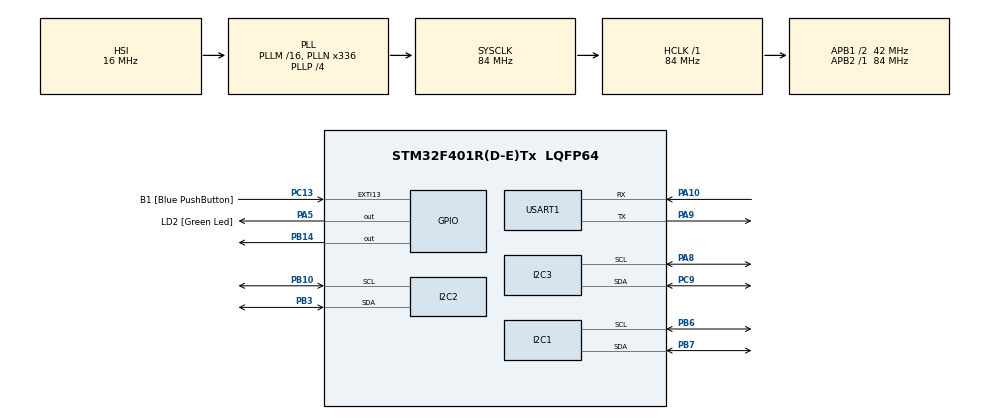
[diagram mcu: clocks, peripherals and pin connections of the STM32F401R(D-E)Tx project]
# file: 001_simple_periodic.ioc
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Mcu.Family=STM32F4
Mcu.Name=STM32F401R(D-E)Tx
Mcu.Package=LQFP64
NVIC.PriorityGroup=NVIC_PRIORITYGROUP_4
NVIC.TIM3_IRQn=true\:1\:0\:true\:false\:true\:true\:true\:true
PA10.Mode=Asynchronous
PA10.Signal=USART1_RX
PA13.GPIO_Label=TMS
PA13.Mode=Serial_Wire
PA13.Signal=SYS_JTMS-SWDIO
PA14.GPIO_Label=TCK
PA14.Mode=Serial_Wire
PA14.Signal=SYS_JTCK-SWCLK
PA2.GPIO_Label=USART_TX
PA2.GPIO_Mode=GPIO_MODE_AF_PP
PA2.GPIO_PuPd=GPIO_NOPULL
PA2.GPIO_Speed=GPIO_SPEED_FREQ_LOW
PA2.Signal=USART2_TX
PA3.GPIO_Label=USART_RX
PA3.GPIO_Mode=GPIO_MODE_AF_PP
PA3.GPIO_PuPd=GPIO_NOPULL
PA3.GPIO_Speed=GPIO_SPEED_FREQ_LOW
PA3.Signal=USART2_RX
PA5.GPIO_Label=LD2 [Green Led]
PA5.GPIO_Mode=GPIO_MODE_OUTPUT_PP
PA5.GPIO_PuPd=GPIO_NOPULL
PA5.GPIO_Speed=GPIO_SPEED_FREQ_LOW
PA5.Signal=GPIO_Output
PA8.Mode=I2C
PA8.Signal=I2C3_SCL
PA9.Mode=Asynchronous
PA9.Signal=USART1_TX
PB10.Mode=I2C
PB10.Signal=I2C2_SCL
PB14.Signal=GPIO_Output
PB3.Mode=I2C
PB3.Signal=I2C2_SDA
PB6.Mode=I2C
PB6.Signal=I2C1_SCL
PB7.Mode=I2C
PB7.Signal=I2C1_SDA
PC13-ANTI_TAMP.GPIO_Label=B1 [Blue PushButton]
PC13-ANTI_TAMP.GPIO_ModeDefaultEXTI=GPIO_MODE_IT_FALLING
PC13-ANTI_TAMP.GPIO_PuPd=GPIO_NOPULL
PC13-ANTI_TAMP.Signal=GPXTI13
PC14-OSC32_IN.Signal=RCC_OSC32_IN
PC15-OSC32_OUT.Signal=RCC_OSC32_OUT
PC9.Mode=I2C
PC9.Signal=I2C3_SDA
PH0\ -\ OSC_IN.Signal=RCC_OSC_IN
PH1\ -\ OSC_OUT.Signal=RCC_OSC_OUT
ProjectManager.HeapSize=0x200
ProjectManager.StackSize=0x400
ProjectManager.TargetToolchain=STM32CubeIDE
RCC.AHBFreq_Value=84000000
RCC.APB1CLKDivider=RCC_HCLK_DIV2
RCC.APB1Freq_Value=42000000
RCC.APB1TimFreq_Value=84000000
RCC.APB2Freq_Value=84000000
RCC.APB2TimFreq_Value=84000000
RCC.CortexFreq_Value=84000000
RCC.HCLKFreq_Value=84000000
RCC.HSE_VALUE=8000000
RCC.HSI_VALUE=16000000
RCC.LSE_VALUE=32768
RCC.PLLN=336
RCC.PLLP=RCC_PLLP_DIV4
RCC.PLLQ=7
RCC.SYSCLKFreq_VALUE=84000000
RCC.SYSCLKSource=RCC_SYSCLKSOURCE_PLLCLK
RCC.VCOOutputFreq_Value=336000000
TIM3.AutoReloadPreload=TIM_AUTORELOAD_PRELOAD_DISABLE
TIM3.Period=1999
TIM3.Prescaler=42000
USART1.VirtualMode=VM_ASYNC
VP_TIM3_VS_ClockSourceINT.Mode=Internal
board=NUCLEO-F401RE

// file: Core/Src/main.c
/* USER CODE BEGIN Header */
/**
  ******************************************************************************
  * @file           : main.c
  * @brief          : Main program body
  ******************************************************************************
  * @attention
  *
  * Copyright (c) 2025 STMicroelectronics.
  * All rights reserved.
  *
  * This software is licensed under terms that can be found in the LICENSE file
  * in the root directory of this software component.
  * If no LICENSE file comes with this software, it is provided AS-IS.
  *
  ******************************************************************************
  */
/* USER CODE END Header */
#include "main.h"

/* USER CODE BEGIN Includes */
#include <stdbool.h>
#include <task_type.h>
#include "stdio.h"
#include "LCD_I2C.h"
#include "I2C_DS3231.h"
#include "sht2x_for_stm32_hal.h"
#include "print_cli.h"
/* USER CODE END Includes */

/* USER CODE BEGIN PM */
#define MAX_TASKS 5
/* USER CODE END PM */

I2C_HandleTypeDef hi2c1;
I2C_HandleTypeDef hi2c2;
I2C_HandleTypeDef hi2c3;

TIM_HandleTypeDef htim3;

UART_HandleTypeDef huart1;

/* USER CODE BEGIN PV */
DateTime date_time;
CLCD_I2C_Name LCD1;
/* USER CODE END PV */

void SystemClock_Config(void);
static void MX_GPIO_Init(void);
static void MX_I2C1_Init(void);
static void MX_USART1_UART_Init(void);
static void MX_I2C2_Init(void);
static void MX_I2C3_Init(void);
static void MX_TIM3_Init(void);
/* USER CODE BEGIN PFP */
void update_parameter_to_display(char *a , float b);
void display_lcd();
void send_uart();
void read_time();
void read_temp_and_hum();
void function_handle();
void update_time();
/* USER CODE END PFP */

/* USER CODE BEGIN 0 */
char Time[9]     = "  :  :  ";
char Calendar[11] = "  /  /20  ";

char c_temperature[5];
float f_temperature = 0;

char c_humidity[5];
float f_humidity = 0;

uint8_t flag = 0;
void HAL_TIM_PeriodElapsedCallback(TIM_HandleTypeDef *htim){
	if(htim == &htim3){
		flag = 1;
	}
}

Task task_list[MAX_TASKS] = {
    {read_temp_and_hum, true},
    {read_time, true},
    {send_uart, true},
    {display_lcd, true},
    {NULL, false}
};

/* USER CODE END 0 */

int main(void)
{

  /* MCU Configuration--------------------------------------------------------*/

  /* Reset of all peripherals, Initializes the Flash interface and the Systick. */
  HAL_Init();

  /* Configure the system clock */
  SystemClock_Config();

  /* Initialize all configured peripherals */
  MX_GPIO_Init();
  MX_I2C1_Init();
  MX_USART1_UART_Init();
  MX_I2C2_Init();
  MX_I2C3_Init();
  MX_TIM3_Init();
  /* USER CODE BEGIN 2 */

  HAL_TIM_Base_Start_IT(&htim3);
  // init LCD use I2C2

  CLCD_I2C_Init(&LCD1,&hi2c2,0x4e,20,4);

  // init SHT21 use I2C1
  SHT2x_Init(&hi2c1);
  SHT2x_SetResolution(RES_14_12);

  //init DS3231 use I2C3
  rtc_init(&hi2c3);

  CLCD_I2C_SetCursor(&LCD1, 10, 0);
  CLCD_I2C_WriteString(&LCD1, "t:");

  CLCD_I2C_SetCursor(&LCD1, 10, 1);
  CLCD_I2C_WriteString(&LCD1, "h:");

  // init time for rtc . It just sould run once time.
	date_time.hour =9;
    date_time.min =54;
	date_time.sec =30;
	date_time.day =19;
	date_time.date =7;
	date_time.mon =1;
	date_time.year =25;

	//rtc_write_time(&date_time);

  /* USER CODE END 2 */

  /* Infinite loop */
  while (1)
  {

    /* USER CODE BEGIN 3 */
//	  if(flag == 1){
//			read_temp_and_hum();
//			read_time();
//			send_uart();
//			display_lcd();
//			flag = 0;
//	  }
	  function_handle();
  }
  /* USER CODE END 3 */
}

void SystemClock_Config(void)
{
  RCC_OscInitTypeDef RCC_OscInitStruct = {0};
  RCC_ClkInitTypeDef RCC_ClkInitStruct = {0};

  /** Configure the main internal regulator output voltage
  */
  __HAL_RCC_PWR_CLK_ENABLE();
  __HAL_PWR_VOLTAGESCALING_CONFIG(PWR_REGULATOR_VOLTAGE_SCALE2);

  /** Initializes the RCC Oscillators according to the specified parameters
  * in the RCC_OscInitTypeDef structure.
  */
  RCC_OscInitStruct.OscillatorType = RCC_OSCILLATORTYPE_HSI;
  RCC_OscInitStruct.HSIState = RCC_HSI_ON;
  RCC_OscInitStruct.HSICalibrationValue = RCC_HSICALIBRATION_DEFAULT;
  RCC_OscInitStruct.PLL.PLLState = RCC_PLL_ON;
  RCC_OscInitStruct.PLL.PLLSource = RCC_PLLSOURCE_HSI;
  RCC_OscInitStruct.PLL.PLLM = 16;
  RCC_OscInitStruct.PLL.PLLN = 336;
  RCC_OscInitStruct.PLL.PLLP = RCC_PLLP_DIV4;
  RCC_OscInitStruct.PLL.PLLQ = 7;
  if (HAL_RCC_OscConfig(&RCC_OscInitStruct) != HAL_OK)
  {
    Error_Handler();
  }

  /** Initializes the CPU, AHB and APB buses clocks
  */
  RCC_ClkInitStruct.ClockType = RCC_CLOCKTYPE_HCLK|RCC_CLOCKTYPE_SYSCLK
                              |RCC_CLOCKTYPE_PCLK1|RCC_CLOCKTYPE_PCLK2;
  RCC_ClkInitStruct.SYSCLKSource = RCC_SYSCLKSOURCE_PLLCLK;
  RCC_ClkInitStruct.AHBCLKDivider = RCC_SYSCLK_DIV1;
  RCC_ClkInitStruct.APB1CLKDivider = RCC_HCLK_DIV2;
  RCC_ClkInitStruct.APB2CLKDivider = RCC_HCLK_DIV1;

  if (HAL_RCC_ClockConfig(&RCC_ClkInitStruct, FLASH_LATENCY_2) != HAL_OK)
  {
    Error_Handler();
  }
}

static void MX_I2C1_Init(void)
{

  hi2c1.Instance = I2C1;
  hi2c1.Init.ClockSpeed = 100000;
  hi2c1.Init.DutyCycle = I2C_DUTYCYCLE_2;
  hi2c1.Init.OwnAddress1 = 0;
  hi2c1.Init.AddressingMode = I2C_ADDRESSINGMODE_7BIT;
  hi2c1.Init.DualAddressMode = I2C_DUALADDRESS_DISABLE;
  hi2c1.Init.OwnAddress2 = 0;
  hi2c1.Init.GeneralCallMode = I2C_GENERALCALL_DISABLE;
  hi2c1.Init.NoStretchMode = I2C_NOSTRETCH_DISABLE;
  if (HAL_I2C_Init(&hi2c1) != HAL_OK)
  {
    Error_Handler();
  }

}

static void MX_I2C2_Init(void)
{

  hi2c2.Instance = I2C2;
  hi2c2.Init.ClockSpeed = 100000;
  hi2c2.Init.DutyCycle = I2C_DUTYCYCLE_2;
  hi2c2.Init.OwnAddress1 = 0;
  hi2c2.Init.AddressingMode = I2C_ADDRESSINGMODE_7BIT;
  hi2c2.Init.DualAddressMode = I2C_DUALADDRESS_DISABLE;
  hi2c2.Init.OwnAddress2 = 0;
  hi2c2.Init.GeneralCallMode = I2C_GENERALCALL_DISABLE;
  hi2c2.Init.NoStretchMode = I2C_NOSTRETCH_DISABLE;
  if (HAL_I2C_Init(&hi2c2) != HAL_OK)
  {
    Error_Handler();
  }

}

static void MX_I2C3_Init(void)
{

  hi2c3.Instance = I2C3;
  hi2c3.Init.ClockSpeed = 100000;
  hi2c3.Init.DutyCycle = I2C_DUTYCYCLE_2;
  hi2c3.Init.OwnAddress1 = 0;
  hi2c3.Init.AddressingMode = I2C_ADDRESSINGMODE_7BIT;
  hi2c3.Init.DualAddressMode = I2C_DUALADDRESS_DISABLE;
  hi2c3.Init.OwnAddress2 = 0;
  hi2c3.Init.GeneralCallMode = I2C_GENERALCALL_DISABLE;
  hi2c3.Init.NoStretchMode = I2C_NOSTRETCH_DISABLE;
  if (HAL_I2C_Init(&hi2c3) != HAL_OK)
  {
    Error_Handler();
  }

}

static void MX_TIM3_Init(void)
{

  TIM_ClockConfigTypeDef sClockSourceConfig = {0};
  TIM_MasterConfigTypeDef sMasterConfig = {0};

  htim3.Instance = TIM3;
  htim3.Init.Prescaler = 42000;
  htim3.Init.CounterMode = TIM_COUNTERMODE_UP;
  htim3.Init.Period = 1999;
  htim3.Init.ClockDivision = TIM_CLOCKDIVISION_DIV1;
  htim3.Init.AutoReloadPreload = TIM_AUTORELOAD_PRELOAD_DISABLE;
  if (HAL_TIM_Base_Init(&htim3) != HAL_OK)
  {
    Error_Handler();
  }
  sClockSourceConfig.ClockSource = TIM_CLOCKSOURCE_INTERNAL;
  if (HAL_TIM_ConfigClockSource(&htim3, &sClockSourceConfig) != HAL_OK)
  {
    Error_Handler();
  }
  sMasterConfig.MasterOutputTrigger = TIM_TRGO_RESET;
  sMasterConfig.MasterSlaveMode = TIM_MASTERSLAVEMODE_DISABLE;
  if (HAL_TIMEx_MasterConfigSynchronization(&htim3, &sMasterConfig) != HAL_OK)
  {
    Error_Handler();
  }

}

static void MX_USART1_UART_Init(void)
{

  huart1.Instance = USART1;
  huart1.Init.BaudRate = 115200;
  huart1.Init.WordLength = UART_WORDLENGTH_8B;
  huart1.Init.StopBits = UART_STOPBITS_1;
  huart1.Init.Parity = UART_PARITY_NONE;
  huart1.Init.Mode = UART_MODE_TX_RX;
  huart1.Init.HwFlowCtl = UART_HWCONTROL_NONE;
  huart1.Init.OverSampling = UART_OVERSAMPLING_16;
  if (HAL_UART_Init(&huart1) != HAL_OK)
  {
    Error_Handler();
  }

}

static void MX_GPIO_Init(void)
{
  GPIO_InitTypeDef GPIO_InitStruct = {0};

  /* GPIO Ports Clock Enable */
  __HAL_RCC_GPIOC_CLK_ENABLE();
  __HAL_RCC_GPIOH_CLK_ENABLE();
  __HAL_RCC_GPIOA_CLK_ENABLE();
  __HAL_RCC_GPIOB_CLK_ENABLE();

  /*Configure GPIO pin Output Level */
  HAL_GPIO_WritePin(LD2_GPIO_Port, LD2_Pin, GPIO_PIN_RESET);

  /*Configure GPIO pin Output Level */
  HAL_GPIO_WritePin(GPIOB, GPIO_PIN_14, GPIO_PIN_RESET);

  /*Configure GPIO pin : B1_Pin */
  GPIO_InitStruct.Pin = B1_Pin;
  GPIO_InitStruct.Mode = GPIO_MODE_IT_FALLING;
  GPIO_InitStruct.Pull = GPIO_NOPULL;
  HAL_GPIO_Init(B1_GPIO_Port, &GPIO_InitStruct);

  /*Configure GPIO pins : USART_TX_Pin USART_RX_Pin */
  GPIO_InitStruct.Pin = USART_TX_Pin|USART_RX_Pin;
  GPIO_InitStruct.Mode = GPIO_MODE_AF_PP;
  GPIO_InitStruct.Pull = GPIO_NOPULL;
  GPIO_InitStruct.Speed = GPIO_SPEED_FREQ_LOW;
  GPIO_InitStruct.Alternate = GPIO_AF7_USART2;
  HAL_GPIO_Init(GPIOA, &GPIO_InitStruct);

  /*Configure GPIO pin : LD2_Pin */
  GPIO_InitStruct.Pin = LD2_Pin;
  GPIO_InitStruct.Mode = GPIO_MODE_OUTPUT_PP;
  GPIO_InitStruct.Pull = GPIO_NOPULL;
  GPIO_InitStruct.Speed = GPIO_SPEED_FREQ_LOW;
  HAL_GPIO_Init(LD2_GPIO_Port, &GPIO_InitStruct);

  /*Configure GPIO pin : PB14 */
  GPIO_InitStruct.Pin = GPIO_PIN_14;
  GPIO_InitStruct.Mode = GPIO_MODE_OUTPUT_PP;
  GPIO_InitStruct.Pull = GPIO_NOPULL;
  GPIO_InitStruct.Speed = GPIO_SPEED_FREQ_LOW;
  HAL_GPIO_Init(GPIOB, &GPIO_InitStruct);

}

/* USER CODE BEGIN 4 */
void update_time(){
  Time[7]     = date_time.sec % 10 + 48; // + 48 because convert from int to char
  Time[6]     = date_time.sec / 10 + 48;
  Time[4]     = date_time.min % 10 + 48;
  Time[3]     = date_time.min / 10 + 48;
  Time[1]     = date_time.hour   % 10 + 48;
  Time[0]     = date_time.hour   / 10 + 48;
  Time[8]	  = '\0';
  Calendar[9] = date_time.year   % 10 + 48;
  Calendar[8] = date_time.year   / 10 + 48;
  Calendar[4] = date_time.mon  % 10 + 48;
  Calendar[3] = date_time.mon  / 10 + 48;
  Calendar[1] = date_time.date   % 10 + 48;
  Calendar[0] = date_time.date   / 10 + 48;
  Calendar[10]= '\0';
}
void display_lcd(){
  update_time();
  CLCD_I2C_SetCursor(&LCD1, 0, 0);
  CLCD_I2C_WriteString(&LCD1,Time);

  CLCD_I2C_SetCursor(&LCD1, 0, 1);
  CLCD_I2C_WriteString(&LCD1,Calendar);

  update_parameter_to_display(c_humidity,f_humidity);
  CLCD_I2C_SetCursor(&LCD1, 12, 1);
  CLCD_I2C_WriteString(&LCD1, c_humidity);

  update_parameter_to_display(c_temperature,f_temperature);
  CLCD_I2C_SetCursor(&LCD1, 12, 0);
  CLCD_I2C_WriteString(&LCD1, c_temperature);
}

void update_parameter_to_display(char *a , float b) {
    // update from float to char
    sprintf(a, "%.1f", b);
}
void send_uart(){
	update_time();
	print_cli("time: %s date: %s temperature: %.1f humidity: %.1f\n",Time,Calendar,f_temperature,f_humidity);
}

void read_time(){
	rtc_read_time(&date_time);
}

void read_temp_and_hum(){
    f_temperature = SHT2x_GetTemperature(1);
    f_humidity = SHT2x_GetRelativeHumidity(1);
}
void function_handle(){
	if(flag == 1){
	    for (int i = 0; i < MAX_TASKS; i++) {
	        if (task_list[i].active && task_list[i].task_fn != NULL) {
	            task_list[i].task_fn();
	        }
	        flag = 0;
	    }
	}
}
/* USER CODE END 4 */

void Error_Handler(void)
{
  __disable_irq();
  while (1)
  {
  }
}
